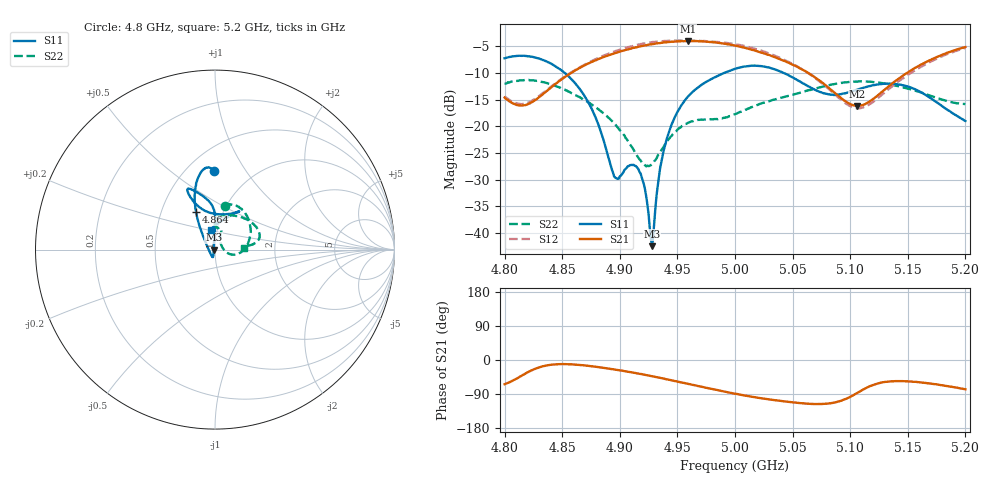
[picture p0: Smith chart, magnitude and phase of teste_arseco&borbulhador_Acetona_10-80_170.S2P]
! Network Analyzer HP8722D
! Hewlett-Packard
! Data name: Linha & Wilkinson
! Saver's name: Rodrigo Anjos
! Comments: Teste da utilização de aquisição
! continua pelo VNA HP8722D
! Time and date: 25/4/2025 16:41
!  Frequency  S11  S21  S12  S22
# HZ  S  MA R 50
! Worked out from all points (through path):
!   401 points, 4.8 GHz to 5.2 GHz, reference 50 ohm
!   highest |S21| = -3.99 dB at 4.959 GHz (marker M1); lowest = -16.2 dB at 5.106 GHz (marker M2)
!   lowest |S11| = -42.4 dB at 4.928 GHz (marker M3), VSWR 1.02, Z = 49.3 + j0.0389 ohm
!   |S11| at or under -10 dB: 4.852 GHz to 4.99 GHz (137.9 MHz wide, 2.8 % of centre); 5.043 GHz to end of sweep
!   |S22| runs from -27.5 to -11.3 dB; largest |S21 - S12| = 1.2
!   S11 on the Smith chart (normalised r, x): 4.8 GHz: 0.67, +0.72; 4.864 GHz: 0.75, +0.33; 5.2 GHz: 0.94, +0.21
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4.8e9  0.4354 90.9  0.1862 -63.9  0.1908 69.7  0.251 77.3
4.82e9  0.454 97.1  0.161 -32.4  0.1667 98.4  0.2725 61.7
4.843e9  0.3735 106.5  0.2445 -11.8  0.2484 118.8  0.2429 36.9
4.864e9  0.2333 116.8  0.3491 -12.7  0.3522 121.0  0.1903 12.5
4.867e9  0.2107 118.6  0.3621 -13.6  0.3666 120.8  0.1829 8.8
4.88e9  0.1136 128.6  0.4212 -18.2  0.4325 118.2  0.1485 -4.8
4.896e9  0.03314 -168.5  0.4868 -25.3  0.5071 113.3  0.1047 -15.4
4.91e9  0.04357 -108.1  0.5364 -32.4  0.5622 107.3  0.06516 -13.0
4.917e9  0.0377 -105.0  0.5615 -36.4  0.588 103.7  0.04929 -0.8
4.922e9  0.02528 -108.9  0.575 -39.1  0.6011 100.9  0.04313 16.2
4.926e9  0.01118 -133.5  0.5863 -41.6  0.6107 98.4  0.04276 33.1
4.928e9  0.007543 177.0  0.5899 -42.9  0.6173 97.1  0.04419 40.8
4.934e9  0.03383 100.5  0.6025 -46.7  0.6277 93.4  0.05509 57.8
4.944e9  0.09755 91.0  0.6211 -52.9  0.6358 86.9  0.07983 69.2
4.959e9  0.189 89.9  0.6317 -62.8  0.6386 77.5  0.1079 71.0
5e9  0.3468 109.3  0.5731 -89.0  0.5916 50.9  0.1301 88.2
5.03e9  0.3549 115.3  0.4659 -104.2  0.4809 34.0  0.1727 85.3
5.067e9  0.2274 105.6  0.3009 -115.9  0.2982 23.6  0.2221 57.3
5.106e9  0.2206 65.1  0.1558 -87.2  0.1478 55.8  0.2631 25.0
5.134e9  0.2519 57.8  0.2396 -56.7  0.226 88.7  0.2482 12.5
5.168e9  0.1898 69.7  0.412 -61.7  0.3961 85.3  0.1965 7.0
5.2e9  0.1125 100.7  0.5549 -77.4  0.5438 70.2  0.1619 3.8
